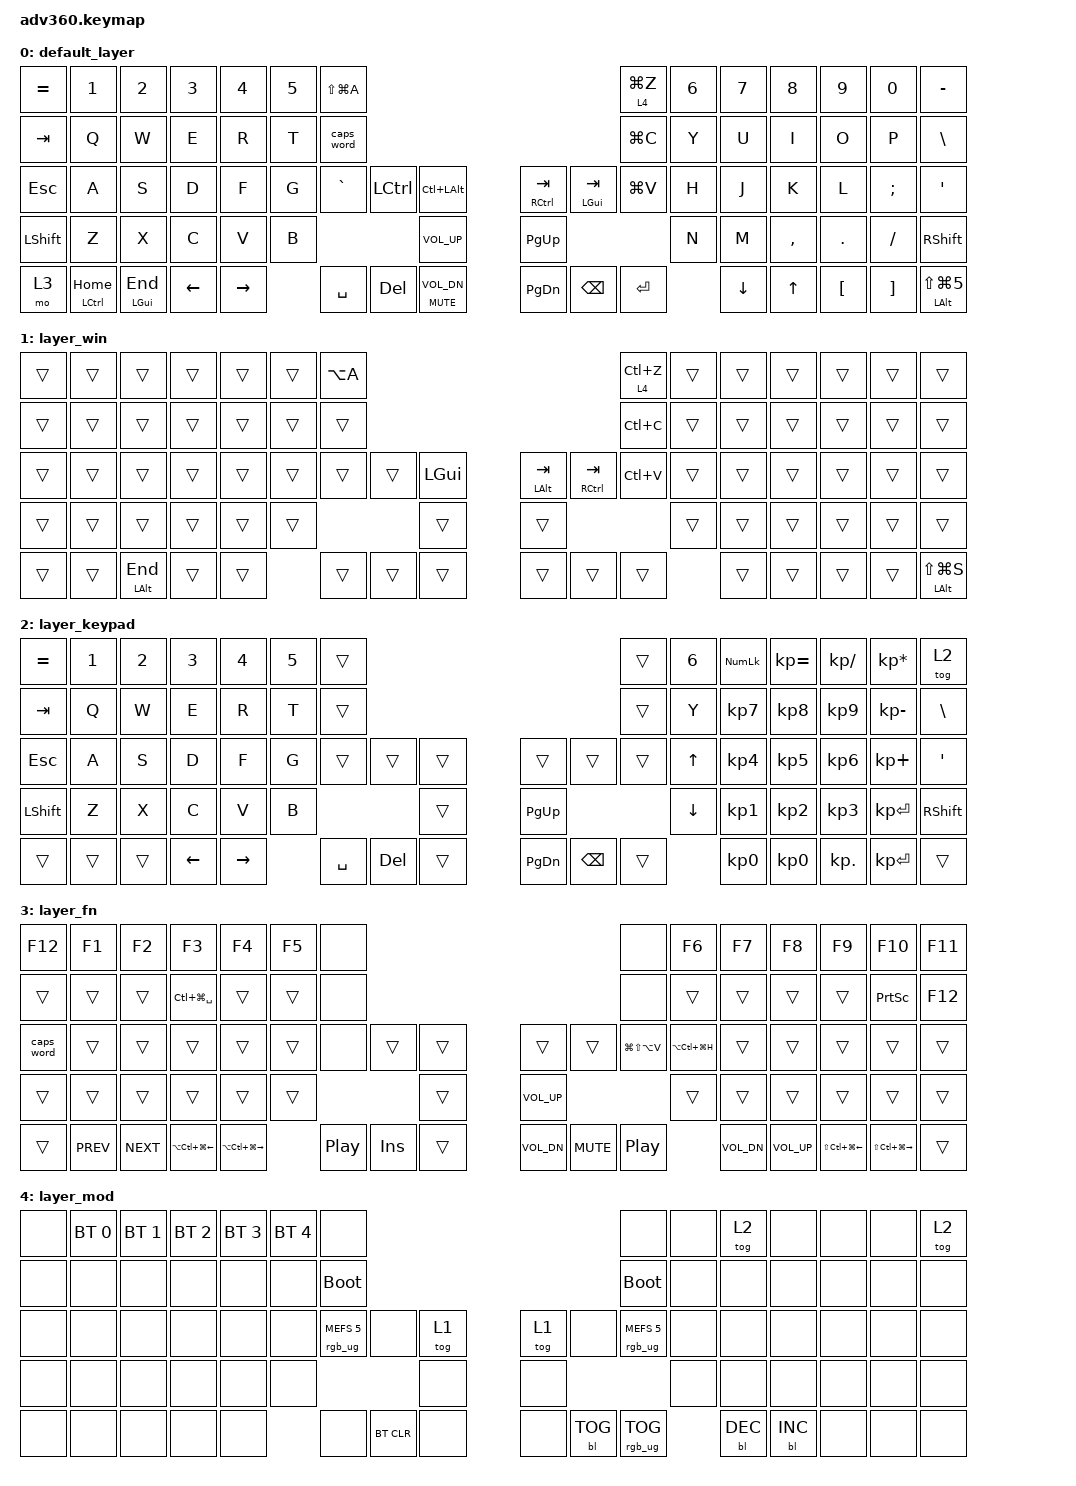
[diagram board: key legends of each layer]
/*
 * Copyright (c) 2020 The ZMK Contributors
 *
 * SPDX-License-Identifier: MIT
 */
/* THIS FILE WAS GENERATED!
 *
 * This file was generated automatically. You may or may not want to
 * edit it directly.
 */

#include <behaviors.dtsi>
#include <dt-bindings/zmk/backlight.h>
#include <dt-bindings/zmk/bt.h>
#include <dt-bindings/zmk/keys.h>
#include <dt-bindings/zmk/rgb.h>

/ {
    behaviors {
        #include "macros.dtsi"
    #include "version.dtsi"

        hm: homerow_mods {
            compatible = "zmk,behavior-hold-tap";
            label = "HOMEROW_MODS";
            #binding-cells = <2>;
            tapping-term-ms = <200>;
            quick_tap_ms = <175>;
            flavor = "tap-preferred";
            bindings = <&kp>, <&kp>;
        };
    };

    keymap {
        compatible = "zmk,keymap";

        default_layer {
            bindings = <
&kp EQUAL  &kp N1          &kp N2            &kp N3    &kp N4     &kp N5  &kp LS(LG(A))                                                                       &lt 4 LG(Z)  &kp N6  &kp N7    &kp N8     &kp N9    &kp N0    &kp MINUS
&kp TAB    &kp Q           &kp W             &kp E     &kp R      &kp T   &caps_word                                                                          &kp LG(C)    &kp Y   &kp U     &kp I      &kp O     &kp P     &kp BSLH
&kp ESC    &kp A           &kp S             &kp D     &kp F      &kp G   &kp GRAVE      &kp LCTRL  &kp LC(LEFT_ALT)         &mt RCTRL TAB  &mt LEFT_GUI TAB  &kp LG(V)    &kp H   &kp J     &kp K      &kp L     &kp SEMI  &kp SQT
&kp LSHFT  &kp Z           &kp X             &kp C     &kp V      &kp B                             &kp C_VOL_UP             &kp PG_UP                                     &kp N   &kp M     &kp COMMA  &kp DOT   &kp FSLH  &kp RSHFT
&mo 3      &mt LCTRL HOME  &mt LEFT_GUI END  &kp LEFT  &kp RIGHT          &kp SPACE      &kp DEL    &mt C_MUTE C_VOL_DN      &kp PG_DN      &kp BACKSPACE     &kp ENTER            &kp DOWN  &kp UP     &kp LBKT  &kp RBKT  &mt LEFT_ALT LS(LG(NUMBER_5))
            >;
        };

        layer_win {
            bindings = <
&trans  &trans  &trans            &trans  &trans  &trans  &kp LA(A)                                                             &lt 4 LC(Z)  &trans  &trans  &trans  &trans  &trans  &trans
&trans  &trans  &trans            &trans  &trans  &trans  &trans                                                                &kp LC(C)    &trans  &trans  &trans  &trans  &trans  &trans
&trans  &trans  &trans            &trans  &trans  &trans  &trans     &trans  &kp LEFT_GUI      &mt LEFT_ALT TAB  &mt RCTRL TAB  &kp LC(V)    &trans  &trans  &trans  &trans  &trans  &trans
&trans  &trans  &trans            &trans  &trans  &trans                     &trans            &trans                                        &trans  &trans  &trans  &trans  &trans  &trans
&trans  &trans  &mt LEFT_ALT END  &trans  &trans          &trans     &trans  &trans            &trans            &trans         &trans               &trans  &trans  &trans  &trans  &mt LEFT_ALT LS(LG(S))
            >;
        };

        layer_keypad {
            bindings = <
&kp EQUAL  &kp N1  &kp N2  &kp N3    &kp N4     &kp N5  &trans                                                    &trans  &kp N6    &kp KP_NUM  &kp KP_EQUAL  &kp KP_DIVIDE  &kp KP_MULTIPLY  &tog 2
&kp TAB    &kp Q   &kp W   &kp E     &kp R      &kp T   &trans                                                    &trans  &kp Y     &kp KP_N7   &kp KP_N8     &kp KP_N9      &kp KP_MINUS     &kp BSLH
&kp ESC    &kp A   &kp S   &kp D     &kp F      &kp G   &trans     &trans   &trans      &trans     &trans         &trans  &kp UP    &kp KP_N4   &kp KP_N5     &kp KP_N6      &kp KP_PLUS      &kp SQT
&kp LSHFT  &kp Z   &kp X   &kp C     &kp V      &kp B                       &trans      &kp PG_UP                         &kp DOWN  &kp KP_N1   &kp KP_N2     &kp KP_N3      &kp KP_ENTER     &kp RSHFT
&trans     &trans  &trans  &kp LEFT  &kp RIGHT          &kp SPACE  &kp DEL  &trans      &kp PG_DN  &kp BACKSPACE  &trans            &kp KP_N0   &kp KP_N0     &kp KP_DOT     &kp KP_ENTER     &trans
            >;
        };

        layer_fn {
            bindings = <
&kp F12     &kp F1      &kp F2      &kp F3                &kp F4                 &kp F5  &none                                                    &none              &kp F6             &kp F7        &kp F8        &kp F9                &kp F10                &kp F11
&trans      &trans      &trans      &kp LC(LG(SPACE))     &trans                 &trans  &none                                                    &none              &trans             &trans        &trans        &trans                &kp PRINTSCREEN        &kp F12
&caps_word  &trans      &trans      &trans                &trans                 &trans  &none     &trans   &trans      &trans        &trans      &kp LG(LS(LA(V)))  &kp LA(LC(LG(H)))  &trans        &trans        &trans                &trans                 &trans
&trans      &trans      &trans      &trans                &trans                 &trans                     &trans      &kp C_VOL_UP                                 &trans             &trans        &trans        &trans                &trans                 &trans
&trans      &kp C_PREV  &kp C_NEXT  &kp LA(LC(LG(LEFT)))  &kp LA(LC(LG(RIGHT)))          &kp C_PP  &kp INS  &trans      &kp C_VOL_DN  &kp C_MUTE  &kp C_PP                              &kp C_VOL_DN  &kp C_VOL_UP  &kp LS(LC(LG(LEFT)))  &kp LS(LC(LG(RIGHT)))  &trans
            >;
        };

        layer_mod {
            bindings = <
&none  &bt BT_SEL 0  &bt BT_SEL 1  &bt BT_SEL 2  &bt BT_SEL 3  &bt BT_SEL 4  &none                                                               &none                   &none  &tog 2      &none       &none  &none  &tog 2
&none  &none         &none         &none         &none         &none         &bootloader                                                         &bootloader             &none  &none       &none       &none  &none  &none
&none  &none         &none         &none         &none         &none         &rgb_ug RGB_MEFS_CMD 5  &none       &tog 1      &tog 1  &none       &rgb_ug RGB_MEFS_CMD 5  &none  &none       &none       &none  &none  &none
&none  &none         &none         &none         &none         &none                                             &none       &none                                       &none  &none       &none       &none  &none  &none
&none  &none         &none         &none         &none                       &none                   &bt BT_CLR  &none       &none   &bl BL_TOG  &rgb_ug RGB_TOG                &bl BL_DEC  &bl BL_INC  &none  &none  &none
            >;
        };
    };
};
